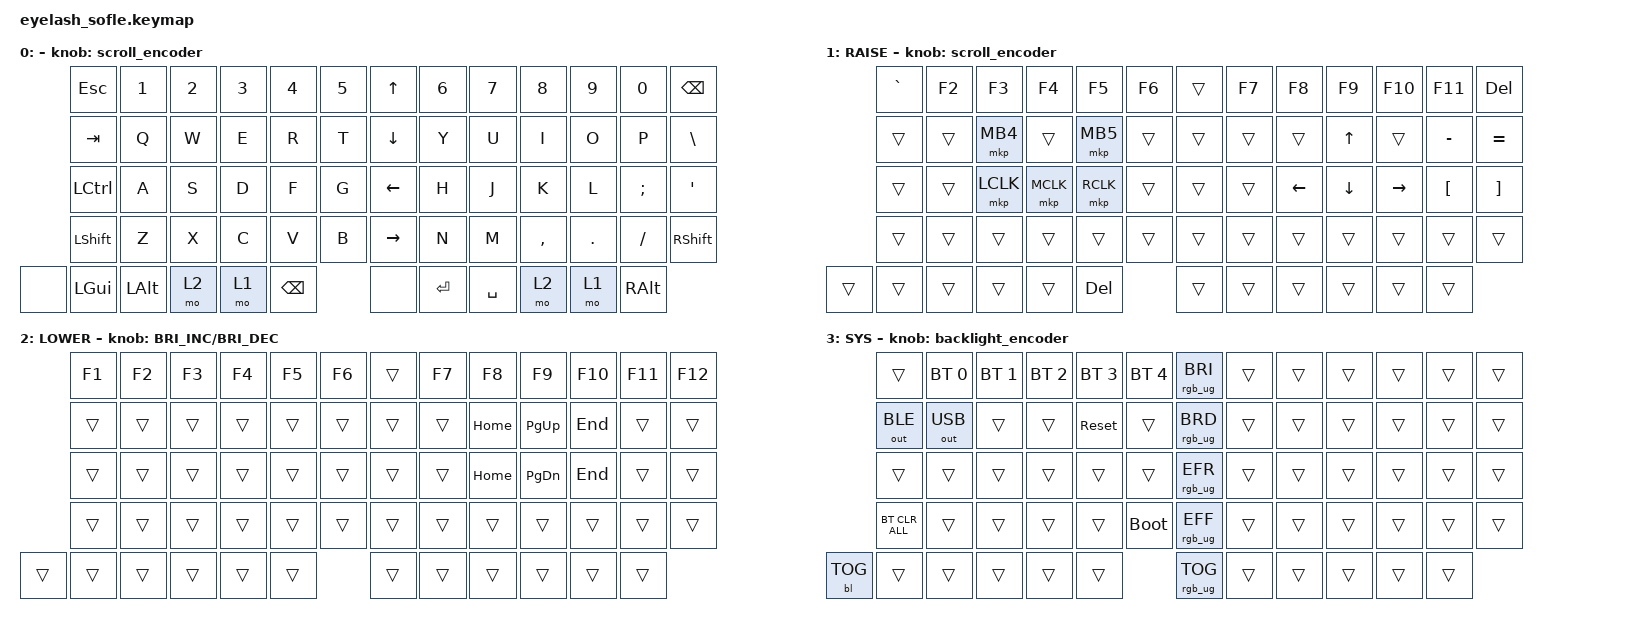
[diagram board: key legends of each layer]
#define ZMK_POINTING_DEFAULT_MOVE_VAL 1200  // 600
#define ZMK_POINTING_DEFAULT_SCRL_VAL 25   // 10

#include <input/processors.dtsi>
#include <zephyr/dt-bindings/input/input-event-codes.h>
#include <behaviors.dtsi>
#include <dt-bindings/zmk/bt.h>
#include <dt-bindings/zmk/ext_power.h>
#include <dt-bindings/zmk/keys.h>
#include <dt-bindings/zmk/pointing.h>
#include <dt-bindings/zmk/rgb.h>
#include <dt-bindings/zmk/outputs.h>
#include <dt-bindings/zmk/backlight.h>

&mmv_input_listener { input-processors = <&zip_xy_scaler 2 1>; };

&msc_input_listener { input-processors = <&zip_scroll_scaler 2 1>; };

&msc {
    acceleration-exponent = <1>;      // 0
    time-to-max-speed-ms = <100>;       // 300
    delay-ms = <0>;                   // 0
};

// &mmv {
//     time-to-max-speed-ms = <500>;
//     acceleration-exponent = <1>;
//     trigger-period-ms = <16>;
// };


/ {
    conditional_layers {
        compatible = "zmk,conditional-layers";
        tri_layer {
            if-layers = <1 2>;
            then-layer = <3>;
        };
    };

    // macros {
    //     personal_email: personal_email {
    //         compatible = "zmk,behavior-macro";
    //         label = "PERSONAL_EMAIL";
    //         #binding-cells = <0>;
    //         bindings = <&kp P &kp E &kp R &kp S &kp O &kp N &kp A &kp L &kp E &kp M &kp A &kp I &kp L &kp AT &kp G &kp M &kp A &kp I &kp L &kp DOT &kp C &kp O &kp M>;
    //     };

    //     spam_email: spam_email {
    //         compatible = "zmk,behavior-macro";
    //         label = "SPAM_EMAIL";
    //         #binding-cells = <0>;
    //         bindings = <&kp S &kp P &kp A &kp M &kp E &kp M &kp A &kp I &kp L &kp AT &kp G &kp M &kp A &kp I &kp L &kp DOT &kp C &kp O &kp M>;
    //     };
    // };

    scroll_encoder: scroll_encoder {
        compatible = "zmk,behavior-sensor-rotate";
        #sensor-binding-cells = <0>;
        bindings = <&msc SCRL_DOWN>, <&msc SCRL_UP>;
        tap-ms = <100>;
    };
    backlight_encoder: backlight_encoder {
        compatible = "zmk,behavior-sensor-rotate";
        #sensor-binding-cells = <0>;
        bindings = <&bl BL_DEC>, <&msc BL_INC>;
        // tap-ms = <100>;
    };

    keymap {
        compatible = "zmk,keymap";

        layer0 {
            bindings = <
            &kp ESC       &kp N1        &kp N2        &kp N3         &kp N4       &kp N5        &kp UP_ARROW       &kp N6     &kp N7     &kp N8     &kp N9     &kp N0         &kp BACKSPACE
            &kp TAB       &kp Q         &kp W         &kp E          &kp R        &kp T         &kp DOWN_ARROW     &kp Y      &kp U      &kp I      &kp O      &kp P          &kp BSLH
            &kp LCTRL     &kp A         &kp S         &kp D          &kp F        &kp G         &kp LEFT_ARROW     &kp H      &kp J      &kp K      &kp L      &kp SEMI       &kp APOS
            &kp LSHFT     &kp Z         &kp X         &kp C          &kp V        &kp B         &kp RIGHT_ARROW    &kp N      &kp M      &kp COMMA  &kp DOT    &kp FSLH       &kp RIGHT_SHIFT
&none       &kp LEFT_GUI  &kp LEFT_ALT  &mo 2         &mo 1          &kp BACKSPACE              &none              &kp ENTER  &kp SPACE  &mo 2      &mo 1      &kp RIGHT_ALT
            >;

            display-name = "";
            sensor-bindings = <&scroll_encoder>;
            // sensor-bindings = <&inc_dec_kp C_VOLUME_UP C_VOL_DN>;
        };

        layer_1 {
            bindings = <
            &kp GRAVE     &kp F2        &kp F3        &kp F4         &kp F5       &kp F6      &trans   &kp F7         &kp F8      &kp F9      &kp F10    &kp F11           &kp DELETE
            &trans        &trans        &mkp MB4      &trans         &mkp MB5     &trans      &trans   &trans         &trans      &kp UP      &trans     &kp MINUS         &kp EQUAL
            &trans        &trans        &mkp LCLK     &mkp MCLK      &mkp RCLK    &trans      &trans   &trans         &kp LEFT    &kp DOWN    &kp RIGHT  &kp LEFT_BRACKET  &kp RIGHT_BRACKET
            &trans        &trans        &trans        &trans         &trans       &trans      &trans   &trans         &trans      &trans      &trans     &trans            &trans
&trans      &trans        &trans        &trans        &trans         &kp DELETE               &trans   &trans         &trans      &trans      &trans     &trans
            >;

            display-name = "RAISE";
            sensor-bindings = <&scroll_encoder>;
        };

        layer_2 {
            bindings = <
            &kp F1      &kp F2         &kp F3           &kp F4          &kp F5     &kp F6   &trans   &kp F7         &kp F8      &kp F9      &kp F10    &kp F11         &kp F12
            &trans      &trans         &trans           &trans          &trans     &trans   &trans   &trans         &kp HOME    &kp PG_UP   &kp END    &trans          &trans
            &trans      &trans         &trans           &trans          &trans     &trans   &trans   &trans         &kp HOME    &kp PG_DN   &kp END    &trans          &trans
            &trans      &trans         &trans           &trans          &trans     &trans   &trans   &trans         &trans      &trans      &trans     &trans          &trans
&trans      &trans      &trans         &trans           &trans          &trans              &trans   &trans         &trans      &trans      &trans     &trans
            >;

            display-name = "LOWER";
            sensor-bindings = <&inc_dec_kp C_BRIGHTNESS_INC C_BRIGHTNESS_DEC>;
        };

        layer_3 {
            bindings = <
            &trans          &bt BT_SEL 0   &bt BT_SEL 1     &bt BT_SEL 2    &bt BT_SEL 3  &bt BT_SEL 4  &rgb_ug RGB_BRI  &trans          &trans            &trans            &trans              &trans              &trans
            &out OUT_BLE    &out OUT_USB   &trans           &trans          &sys_reset    &trans        &rgb_ug RGB_BRD  &trans          &trans            &trans            &trans              &trans              &trans
            &trans          &trans         &trans           &trans          &trans        &trans        &rgb_ug RGB_EFR  &trans          &trans            &trans            &trans              &trans              &trans
            &bt BT_CLR_ALL  &trans         &trans           &trans          &trans        &bootloader   &rgb_ug RGB_EFF  &trans          &trans            &trans            &trans              &trans              &trans
&bl BL_TOG  &trans          &trans         &trans           &trans          &trans                      &rgb_ug RGB_TOG  &trans          &trans            &trans            &trans              &trans
            >;
            
            display-name = "SYS";
            sensor-bindings = <&backlight_encoder>;
        };
    };
};
